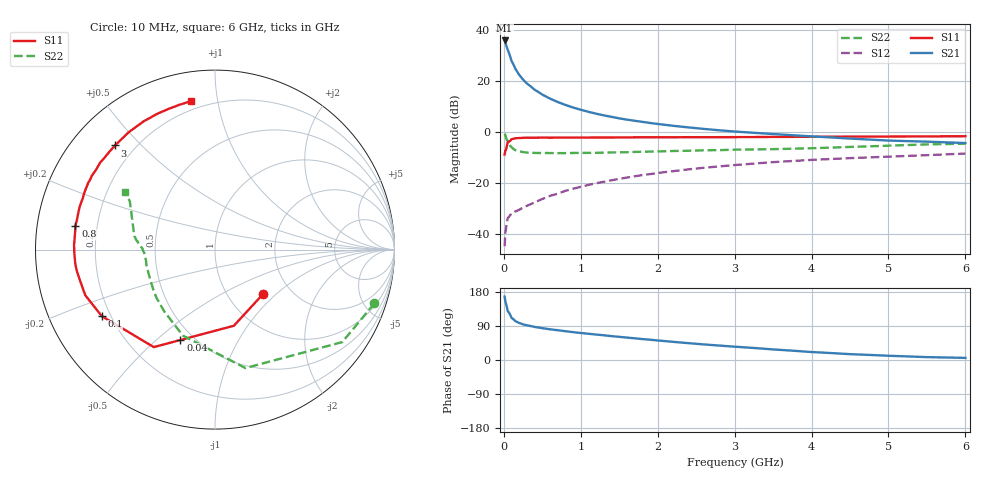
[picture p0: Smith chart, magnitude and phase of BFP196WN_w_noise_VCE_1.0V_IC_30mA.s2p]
! Infineon Technologies  Discrete & RF Semiconductors
! BFP196WN
! VCE =  1.0 V,  IC =  30 mA
! Common Emitter S-Parameters:  Jan 2017
# GHz  S  MA  R  50
!  f  S11  S21  S12  S22
! GHz  MAG  ANG  MAG  ANG  MAG  ANG  MAG  ANG
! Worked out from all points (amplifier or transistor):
!   77 points, 10 MHz to 6 GHz, reference 50 ohm
!   highest |S21| = 36.1 dB at 10 MHz (marker M1)
!   |S21| within 3 dB of that: start of sweep to 42.65 MHz
!   unconditionally stable (mu >= 1): 688.5 MHz to 3.19 GHz
!   at 130 MHz: K = 0.43, MSG = 28.8 dB, |S12| = -31.4 dB
!   at 2.2 GHz: K = 1.04, MAG = 7.7 dB, |S12| = -15.3 dB
!   at 6 GHz: K = 0.95, MSG = 2.1 dB, |S12| = -8.3 dB
!   lowest NFmin = 1.06 dB at 450 MHz
!   S11 on the Smith chart (normalised r, x): 10 MHz: 1.44, -0.83; 40 MHz: 0.42, -0.60; 100 MHz: 0.17, -0.27; 800 MHz: 0.12, +0.08; 3 GHz: 0.13, +0.42; 6 GHz: 0.15, +0.84
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0.01  0.3648 -43.1  63.65 167.3  0.0058 79.1  0.9376 -18.6
0.02  0.4371 -76.1  57.9 154.3  0.0107 71.8  0.8765 -36.0
0.04  0.539 -110.9  46.21 139.3  0.0169 52.8  0.7044 -60.3
0.05  0.6412 -122.1  42.03 129.0  0.0204 47.9  0.6814 -75.6
0.1  0.7316 -149.5  25.2 110.9  0.0254 39.7  0.5114 -110.5
0.15  0.7663 -160.6  17.63 102.6  0.028 39.3  0.4458 -129.3
0.2  0.771 -166.8  13.42 97.7  0.03 42.7  0.4224 -140.5
0.25  0.7789 -171.0  10.84 94.1  0.0334 44.6  0.4088 -147.6
0.3  0.7825 -174.2  9.077 91.5  0.036 47.1  0.3994 -153.2
0.4  0.7841 -178.7  6.859 87.2  0.0419 52.6  0.3934 -160.0
0.5  0.7858 177.9  5.498 84.0  0.049 56.2  0.3919 -164.7
0.6  0.7843 175.0  4.594 81.0  0.0563 58.1  0.3913 -168.1
0.7  0.7857 172.7  3.937 78.6  0.0625 60.0  0.3893 -170.5
0.8  0.7891 170.4  3.451 75.9  0.0708 61.7  0.3899 -172.3
1.1  0.7892 164.2  2.524 69.2  0.0926 62.9  0.3944 -176.8
1.5  0.7928 157.4  1.879 61.1  0.1215 62.3  0.4041 179.3
2.1  0.7989 147.6  1.4 49.8  0.1654 59.2  0.4249 175.5
3  0.8041 133.8  1.036 35.1  0.227 52.3  0.4557 170.4
3.1  0.8045 132.3  1.012 33.8  0.2333 51.4  0.4577 169.6
4.1  0.818 117.7  0.816 20.0  0.2916 42.8  0.4919 159.8
5.1  0.8265 107.0  0.681 10.5  0.3368 35.3  0.5523 150.0
6  0.8373 99.3  0.615 5.6  0.3825 29.4  0.5971 147.5
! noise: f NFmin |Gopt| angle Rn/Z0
0.45  1.06  0.46  178  0.04
0.9  1.19  0.52  184  0.05
1.9  2.13  0.68  211  0.13
2.4  2.86  0.69  218  0.24
